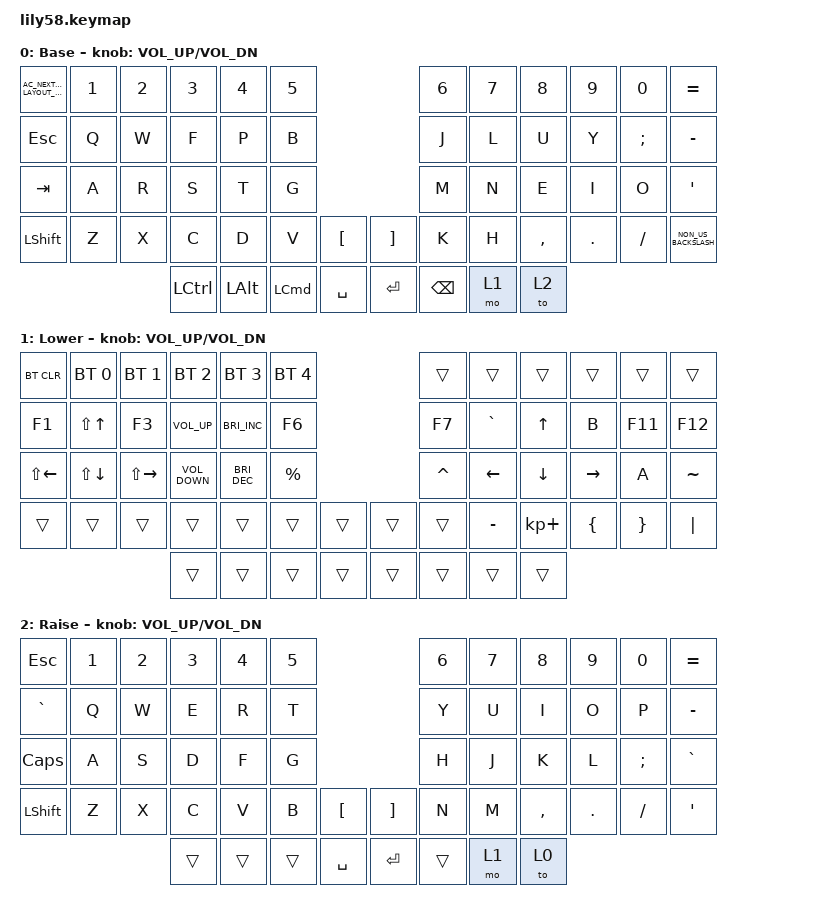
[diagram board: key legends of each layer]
/*
 * Copyright (c) 2020 The ZMK Contributors
 *
 * SPDX-License-Identifier: MIT
 */

#include <behaviors.dtsi>
#include <dt-bindings/zmk/bt.h>
#include <dt-bindings/zmk/keys.h>

/ {
    keymap {
        compatible = "zmk,keymap";

        default_layer {
            // ------------------------------------------------------------------------------------------------------------
            // |  ESC  |  1  |  2  |  3   |  4   |  5   |                   |  6   |  7    |  8    |  9   |   0   |   `   |
            // |  TAB  |  Q  |  W  |  E   |  R   |  T   |                   |  Y   |  U    |  I    |  O   |   P   |   -   |
            // |  CTRL |  A  |  S  |  D   |  F   |  G   |                   |  H   |  J    |  K    |  L   |   ;   |   '   |
            // | SHIFT |  Z  |  X  |  C   |  V   |  B   |   "["  |  |  "]"  |  N   |  M    |  ,    |  .   |   /   | SHIFT |
            //                     | ALT  | GUI  | LOWER|  SPACE |  | ENTER | RAISE| BSPC  | GUI   |

            display-name = "Base";
            bindings = <
&kp C_AC_NEXT_KEYBOARD_LAYOUT_SELECT  &kp N1  &kp N2  &kp N3            &kp N4    &kp N5                                   &kp N6         &kp N7  &kp N8     &kp N9   &kp N0         &kp EQUAL
&kp ESCAPE                            &kp Q   &kp W   &kp F             &kp P     &kp B                                    &kp J          &kp L   &kp U      &kp Y    &kp SEMICOLON  &kp MINUS
&kp TAB                               &kp A   &kp R   &kp S             &kp T     &kp G                                    &kp M          &kp N   &kp E      &kp I    &kp O          &kp SQT
&kp LSHFT                             &kp Z   &kp X   &kp C             &kp D     &kp V             &kp LBKT     &kp RBKT  &kp K          &kp H   &kp COMMA  &kp DOT  &kp FSLH       &kp NON_US_BACKSLASH
                                                      &kp LEFT_CONTROL  &kp LALT  &kp LEFT_COMMAND  &kp SPACE    &kp RET   &kp BACKSPACE  &mo 1   &to 2
            >;

            sensor-bindings = <&inc_dec_kp C_VOL_UP C_VOL_DN>;
        };

        lower_layer {
            // ------------------------------------------------------------------------------------------------------------
            // | BTCLR | BT1 | BT2 |  BT3 |  BT4 |  BT5 |                   |      |       |       |      |       |       |
            // |  F1   |  F2 |  F3 |  F4  |  F5  |  F6  |                   |  F7  |  F8   |  F9   |  F10 |  F11  |  F12  |
            // |   `   |  !  |  @  |  #   |  $   |  %   |                   |  ^   |  &    |  *    |  (   |   )   |   ~   |
            // |       |     |     |      |      |      |        |  |       |      |  _    |  +    |  {   |   }   |  "|"  |
            //                     |      |      |      |        |  |       |      |       |       |

            display-name = "Lower";
            bindings = <
&bt BT_CLR          &bt BT_SEL 0        &bt BT_SEL 1         &bt BT_SEL 2       &bt BT_SEL 3          &bt BT_SEL 4                    &trans     &trans          &trans          &trans           &trans    &trans
&kp F1              &kp LS(UP_ARROW)    &kp F3               &kp C_VOLUME_UP    &kp C_BRIGHTNESS_INC  &kp F6                          &kp F7     &kp GRAVE       &kp UP_ARROW    &kp B            &kp F11   &kp F12
&kp LS(LEFT_ARROW)  &kp LS(DOWN_ARROW)  &kp LS(RIGHT_ARROW)  &kp C_VOLUME_DOWN  &kp C_BRIGHTNESS_DEC  &kp PRCNT                       &kp CARET  &kp LEFT_ARROW  &kp DOWN_ARROW  &kp RIGHT_ARROW  &kp A     &kp TILDE
&trans              &trans              &trans               &trans             &trans                &trans        &trans    &trans  &trans     &kp MINUS       &kp KP_PLUS     &kp LBRC         &kp RBRC  &kp PIPE
                                                             &trans             &trans                &trans        &trans    &trans  &trans     &trans          &trans
            >;

            sensor-bindings = <&inc_dec_kp C_VOL_UP C_VOL_DN>;
        };

        raise_layer {
            // ------------------------------------------------------------------------------------------------------------
            // |       |     |     |      |      |      |                   |      |       |       |      |       |       |
            // |   `   |  1  |  2  |  3   |  4   |  5   |                   |  6   |   7   |   8   |  9   |   0   |       |
            // |   F1  |  F2 |  F3 |  F4  |  F5  |  F6  |                   |      |   <-  |   v   |  ^   |  ->   |       |
            // |   F7  |  F8 |  F9 |  F10 |  F11 |  F12 |        |  |       |  +   |   -   |   =   |  [   |   ]   |   \   |
            //                     |      |      |      |        |  |       |      |       |       |

            display-name = "Raise";
            bindings = <
&kp ESCAPE      &kp NUMBER_1  &kp NUMBER_2  &kp NUMBER_3  &kp NUMBER_4  &kp N5                                         &kp NUMBER_6  &kp NUMBER_7  &kp N8     &kp N9      &kp N0         &kp EQUAL
&kp GRAVE       &kp Q         &kp W         &kp E         &kp R         &kp T                                          &kp Y         &kp U         &kp I      &kp O       &kp P          &kp MINUS
&kp CAPSLOCK    &kp A         &kp S         &kp D         &kp F         &kp G                                          &kp H         &kp J         &kp K      &kp L       &kp SEMICOLON  &kp GRAVE
&kp LEFT_SHIFT  &kp Z         &kp X         &kp C         &kp V         &kp B   &kp LEFT_BRACKET    &kp RIGHT_BRACKET  &kp N         &kp M         &kp COMMA  &kp PERIOD  &kp SLASH      &kp SQT
                                            &trans        &trans        &trans  &kp SPACE           &kp ENTER          &trans        &mo 1         &to 0
            >;

            sensor-bindings = <&inc_dec_kp C_VOL_UP C_VOL_DN>;
        };

        extra_1 { status = "reserved"; };

        extra_2 { status = "reserved"; };

        extra_3 { status = "reserved"; };
    };
};
